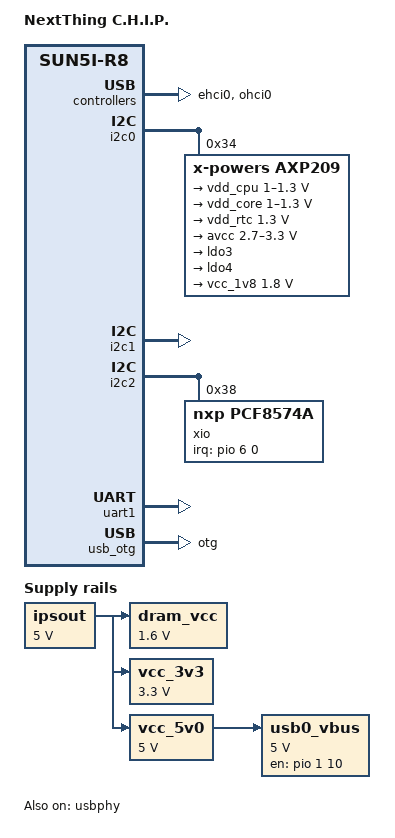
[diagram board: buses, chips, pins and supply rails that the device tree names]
/*
 * Copyright 2015 Maxime Ripard
 *
 * Maxime Ripard <maxime.ripard@free-electrons.com>
 *
 * This file is dual-licensed: you can use it either under the terms
 * of the GPL or the X11 license, at your option. Note that this dual
 * licensing only applies to this file, and not this project as a
 * whole.
 *
 *  a) This file is free software; you can redistribute it and/or
 *     modify it under the terms of the GNU General Public License as
 *     published by the Free Software Foundation; either version 2 of the
 *     License, or (at your option) any later version.
 *
 *     This file is distributed in the hope that it will be useful,
 *     but WITHOUT ANY WARRANTY; without even the implied warranty of
 *     MERCHANTABILITY or FITNESS FOR A PARTICULAR PURPOSE.  See the
 *     GNU General Public License for more details.
 *
 * Or, alternatively,
 *
 *  b) Permission is hereby granted, free of charge, to any person
 *     obtaining a copy of this software and associated documentation
 *     files (the "Software"), to deal in the Software without
 *     restriction, including without limitation the rights to use,
 *     copy, modify, merge, publish, distribute, sublicense, and/or
 *     sell copies of the Software, and to permit persons to whom the
 *     Software is furnished to do so, subject to the following
 *     conditions:
 *
 *     The above copyright notice and this permission notice shall be
 *     included in all copies or substantial portions of the Software.
 *
 *     THE SOFTWARE IS PROVIDED "AS IS", WITHOUT WARRANTY OF ANY KIND,
 *     EXPRESS OR IMPLIED, INCLUDING BUT NOT LIMITED TO THE WARRANTIES
 *     OF MERCHANTABILITY, FITNESS FOR A PARTICULAR PURPOSE AND
 *     NONINFRINGEMENT. IN NO EVENT SHALL THE AUTHORS OR COPYRIGHT
 *     HOLDERS BE LIABLE FOR ANY CLAIM, DAMAGES OR OTHER LIABILITY,
 *     WHETHER IN AN ACTION OF CONTRACT, TORT OR OTHERWISE, ARISING
 *     FROM, OUT OF OR IN CONNECTION WITH THE SOFTWARE OR THE USE OR
 *     OTHER DEALINGS IN THE SOFTWARE.
 */

/dts-v1/;
#include "sun5i-a13.dtsi"

#include <dt-bindings/gpio/gpio.h>
#include <dt-bindings/interrupt-controller/irq.h>

/ {
	model = "NextThing C.H.I.P.";
	compatible = "nextthing,chip", "allwinner,sun5i-r8";

	aliases {
		i2c0 = &i2c0;
		i2c1 = &i2c1;
		i2c2 = &i2c2;
		serial0 = &uart1;
	};

	chosen {
		stdout-path = "serial0:115200n8";
	};

	dram_vcc: dram_vcc {
		compatible = "regulator-fixed";
		regulator-name = "dram-vcc";
		regulator-min-microvolt = <1600000>;
		regulator-max-microvolt = <1600000>;
		vin-supply = <&ipsout>;
		regulator-always-on;
	};

	ipsout: ipsout {
		compatible = "regulator-fixed";
		regulator-name = "ipsout";
		regulator-min-microvolt = <5000000>;
		regulator-max-microvolt = <5000000>;
		regulator-always-on;
	};

	usb0_vbus: usb0_vbus {
		compatible = "regulator-fixed";
		pinctrl-names = "default";
		pinctrl-0 = <&chip_vbus_pin>;

		regulator-name = "vbus-usb0";
		regulator-min-microvolt = <5000000>;
		regulator-max-microvolt = <5000000>;
		vin-supply = <&vcc_5v0>;
		gpio = <&pio 1 10 GPIO_ACTIVE_HIGH>; /* PB10 */
		enable-active-high;
	};

	vcc_3v3: vcc3v3 {
		compatible = "regulator-fixed";
		regulator-name = "vcc-3v3";
		regulator-min-microvolt = <3300000>;
		regulator-max-microvolt = <3300000>;
		vin-supply = <&ipsout>;
		regulator-always-on;
	};

	vcc_5v0: vcc5v0 {
		compatible = "regulator-fixed";
		regulator-name = "vcc-5v0";
		regulator-min-microvolt = <5000000>;
		regulator-max-microvolt = <5000000>;
		vin-supply = <&ipsout>;
		regulator-always-on;
	};
};

&ehci0 {
	status = "okay";
};

&i2c0 {
	pinctrl-names = "default";
	pinctrl-0 = <&i2c0_pins_a>;
	status = "okay";

	axp209: pmic@34 {
		compatible = "x-powers,axp209";
		reg = <0x34>;

		/*
		 * The interrupt is routed through the "External Fast
                 * Interrupt Request" pin (ball G13 of the module)
                 * directly to the main interrupt controller, without
                 * any other controller interfering.
		 */
		interrupts = <0>;

		interrupt-controller;
		#interrupt-cells = <1>;

		regulators {
			vdd_cpu: dcdc2 {
				regulator-min-microvolt = <1000000>;
				regulator-max-microvolt = <1300000>;
				regulator-name = "cpuvdd";
				regulator-always-on;
			};

			vdd_core: dcdc3 {
				regulator-min-microvolt = <1000000>;
				regulator-max-microvolt = <1300000>;
				regulator-name = "corevdd";
				regulator-always-on;
			};

			vdd_rtc: ldo1 {
				regulator-min-microvolt = <1300000>;
				regulator-max-microvolt = <1300000>;
				regulator-name = "rtcvdd";
				regulator-always-on;
			};

			avcc: ldo2 {
				regulator-min-microvolt = <2700000>;
				regulator-max-microvolt = <3300000>;
				regulator-name = "avcc";
				regulator-always-on;
			};

			/* LDO3 is unused */
			ldo3 {
				regulator-name = "ldo3";
			};

			/* LDO4 is unused */
			ldo4 {
				regulator-name = "ldo4";
			};

			vcc_1v8: ldo5 {
				regulator-min-microvolt = <1800000>;
				regulator-max-microvolt = <1800000>;
				regulator-name = "vcc-1v8";
			};
		};
	};
};

/*
 * i2c1 is routed to the external pins and doesn't have any device
 * attached to it on the C.H.I.P itself.
 */
&i2c1 {
	pinctrl-names = "default";
	pinctrl-0 = <&i2c1_pins_a>;
	status = "okay";
};

&i2c2 {
	pinctrl-names = "default";
	pinctrl-0 = <&i2c2_pins_a>;
	status = "okay";

	xio: gpio@38 {
		compatible = "nxp,pcf8574a";
		reg = <0x38>;

		gpio-controller;
		#gpio-cells = <2>;

		interrupt-parent = <&pio>;
		interrupts = <6 0 IRQ_TYPE_EDGE_FALLING>;
		interrupt-controller;
		#interrupt-cells = <2>;
	};
};

&ohci0 {
	status = "okay";
};

&otg_sram {
	status = "okay";
};

&pio {
	chip_vbus_pin: chip_vbus_pin@0 {
	        allwinner,pins = "PB10";
	        allwinner,function = "gpio_out";
	        allwinner,drive = <SUN4I_PINCTRL_10_MA>;
	        allwinner,pull = <SUN4I_PINCTRL_NO_PULL>;
	};

	chip_id_det_pin: chip_id_det_pin@0 {
	        allwinner,pins = "PG2";
	        allwinner,function = "gpio_in";
	        allwinner,drive = <SUN4I_PINCTRL_10_MA>;
	        allwinner,pull = <SUN4I_PINCTRL_NO_PULL>;
	};
};

&uart1 {
	pinctrl-names = "default";
	pinctrl-0 = <&uart1_pins_b>;
	status = "okay";
};

&usb_otg {
	dr_mode = "otg";
	status = "okay";
};

&usbphy {
	pinctrl-names = "default";
	pinctrl-0 = <&chip_id_det_pin>;
	status = "okay";

	usb0_id_det-gpio = <&pio 6 2 GPIO_ACTIVE_HIGH>; /* PG2 */

	usb0_vbus-supply = <&usb0_vbus>;
	usb1_vbus-supply = <&vcc_5v0>;
};
